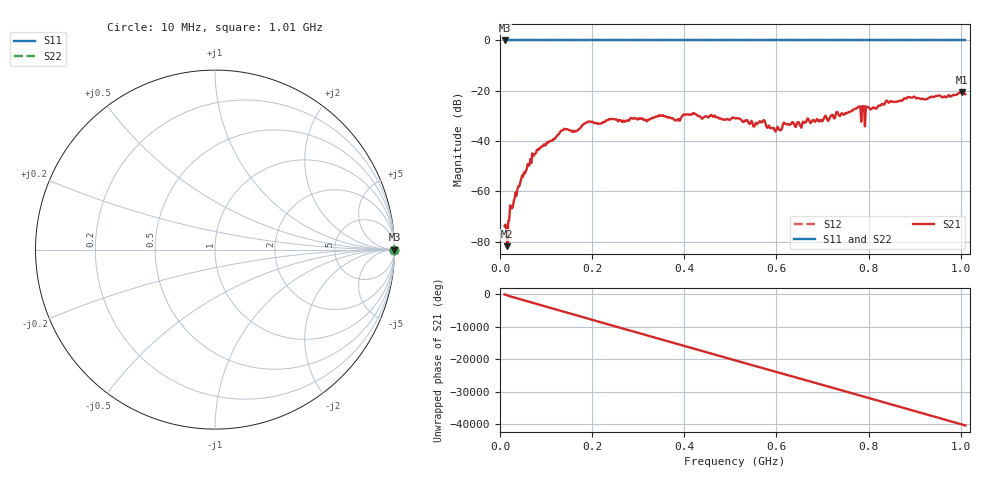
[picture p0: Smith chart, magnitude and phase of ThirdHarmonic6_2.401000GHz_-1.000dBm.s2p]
! 8/17/2025 3:57:49 AM
! C:\ANRITSUVNA\TEMP\TEMP.S2P
! CHANNEL.1
! TR.MEASUREMENT
! RAW.DATA
! RF.CORRECTION.OFF
! AVERAGING.OFF
! IF.BANDWIDTH: 5KHZ
! SWEEPTYPE:  FREQ.SWEEP(Linear)
! Reference Plane Port Info
! PORT:  PORT1  PORT2
! DISTANCE:  0  m  0  m
! TIME:  0  s  0  s
! PHASE.OFFSET:  0  deg.  0  deg.
! LOSS:  0  dB  0  dB
! REF.LOSS:  0  dB  0  dB
! REF.FREQ:  0  Hz  0  Hz
! Power Info
! POWER:  -20  dBm  -20  dBm
! EFF.POWER:  -20  dBm  -20  dBm
! SOURCE.ATTEN:  0  dB  0  dB
! TEST.ATTEN:  0  dB  0  dB
# GHZ S RI R 50.0
! FREQ.GHZ  S11RE  S11IM  S21RE  S21IM  S12RE  S12IM  S22RE  S22IM
!; PortSelection: Port_12
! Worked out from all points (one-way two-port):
!   501 points, 10 MHz to 1.01 GHz, reference 50 ohm
!   highest |S21| = -20.68 dB at 1.002 GHz (marker M1); lowest = -81.8 dB at 16 MHz (marker M2)
!   lowest |S11| = 0.0 dB at 10 MHz (marker M3)
!   |S11| at or under -10 dB: nowhere
!   |S22| runs from 0.0 to 0.0 dB; largest |S21 - S12| = 1.1
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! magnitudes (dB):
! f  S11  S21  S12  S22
! 10 MHz  0.0  -73.8  0.0  0.0
! 16 MHz  0.0  -81.8  0.0  0.0
! 26 MHz  0.0  -66.8  0.0  0.0
! 44 MHz  0.0  -56.5  0.0  0.0
! 74 MHz  0.0  -45.5  0.0  0.0
! 136 MHz  0.0  -35.7  0.0  0.0
! 162 MHz  0.0  -36.3  0.0  0.0
! 178 MHz  0.0  -33.8  0.0  0.0
! 344 MHz  0.0  -30.0  0.0  0.0
! 382 MHz  0.0  -31.6  0.0  0.0
! 510 MHz  0.0  -30.9  0.0  0.0
! 554 MHz  0.0  -33.2  0.0  0.0
! 572 MHz  0.0  -31.7  0.0  0.0
! 596 MHz  0.0  -35.7  0.0  0.0
! 618 MHz  0.0  -32.9  0.0  0.0
! 678 MHz  0.0  -31.7  0.0  0.0
! 778 MHz  0.0  -26.3  0.0  0.0
! 788 MHz  0.0  -26.1  0.0  0.0
! 798 MHz  0.0  -26.4  0.0  0.0
! 844 MHz  0.0  -24.8  0.0  0.0
! 1.002 GHz  0.0  -20.7  0.0  0.0
! 1.01 GHz  0.0  -21.3  0.0  0.0
